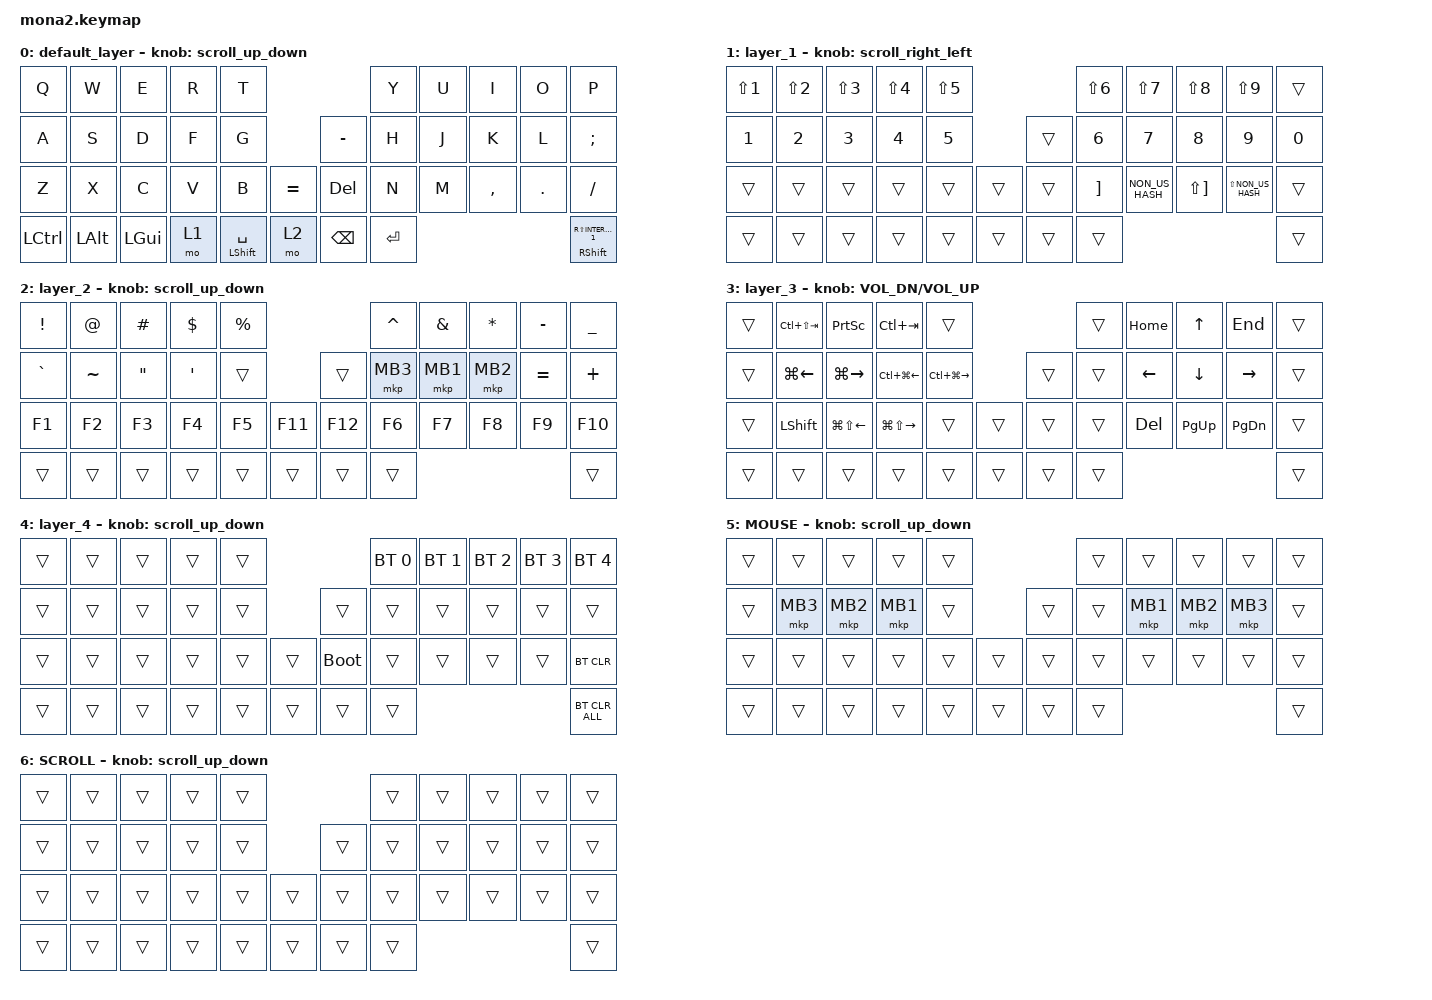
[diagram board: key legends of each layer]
#include <input/processors.dtsi>
#include <dt-bindings/zmk/input_transform.h>
#include <zephyr/dt-bindings/input/input-event-codes.h>
#include <behaviors.dtsi>
#include <dt-bindings/zmk/bt.h>
#include <dt-bindings/zmk/keys.h>
#include <dt-bindings/zmk/pointing.h>

#define ZMK_POINTING_DEFAULT_SCRL_VAL 100
#define MOUSE 5
#define SCROLL 6

&mt {
    flavor = "balanced";
    quick-tap-ms = <0>;
};

&lt {
    quick-tap-ms = <300>;
    flavor = "balanced";
};

/ {
    combos {
        compatible = "zmk,combos";

        layer4_ESC {
            bindings = <&lt 4 ESC>;
            key-positions = <0 1>;
        };

        tab {
            bindings = <&kp TAB>;
            key-positions = <11 10>;
        };

        combo_eisu {
            bindings = <&kp LANGUAGE_2>;
            key-positions = <12 13>;
        };

        combo_kana {
            bindings = <&kp LANGUAGE_1>;
            key-positions = <17 18>;
        };

        combo_1 {
            bindings = <&kp NUMBER_1>;
            key-positions = <0 10>;
        };

        combo_2 {
            bindings = <&kp NUMBER_2>;
            key-positions = <1 11>;
        };

        combo_3 {
            bindings = <&kp NUMBER_3>;
            key-positions = <2 12>;
        };

        combo_4 {
            bindings = <&kp NUMBER_4>;
            key-positions = <3 13>;
        };

        combo_5 {
            bindings = <&kp NUMBER_5>;
            key-positions = <4 14>;
        };

        combo_6 {
            bindings = <&kp NUMBER_6>;
            key-positions = <5 16>;
        };

        combo_7 {
            bindings = <&kp NUMBER_7>;
            key-positions = <6 17>;
        };

        combo_8 {
            bindings = <&kp NUMBER_8>;
            key-positions = <7 18>;
        };

        combo_9 {
            bindings = <&kp NUMBER_9>;
            key-positions = <8 19>;
        };

        combo_0 {
            bindings = <&kp NUMBER_0>;
            key-positions = <9 20>;
        };

        combo_toggleToLayer5 {
            bindings = <&tog 5>;
            key-positions = <18 19>;
        };

        combo_F1 {
            bindings = <&kp F1>;
            key-positions = <10 21>;
        };

        combo_F2 {
            bindings = <&kp F2>;
            key-positions = <11 22>;
        };

        combo_F3 {
            bindings = <&kp F3>;
            key-positions = <12 23>;
        };

        combo_F4 {
            bindings = <&kp F4>;
            key-positions = <13 24>;
        };

        combo_F5 {
            bindings = <&kp F5>;
            key-positions = <14 25>;
        };

        combo_F6 {
            bindings = <&kp F6>;
            key-positions = <16 28>;
        };

        combo_F7 {
            bindings = <&kp F7>;
            key-positions = <17 29>;
        };

        combo_F8 {
            bindings = <&kp F8>;
            key-positions = <18 30>;
        };

        combo_F9 {
            bindings = <&kp F9>;
            key-positions = <19 31>;
        };

        combo_F10 {
            bindings = <&kp F10>;
            key-positions = <20 32>;
        };

        combo_F11 {
            bindings = <&kp F11>;
            key-positions = <26 25>;
        };

        combo_F12 {
            bindings = <&kp F12>;
            key-positions = <15 27>;
        };
    };

    macros {
        to_layer_0: to_layer_0 {
            compatible = "zmk,behavior-macro-one-param";
            #binding-cells = <1>;
            bindings = <&to 0 &macro_param_1to1 &kp MACRO_PLACEHOLDER>;
            label = "TO_LAYER_0";
        };
    };

    behaviors {
        lt_to_layer_0: lt_to_layer_0 {
            compatible = "zmk,behavior-hold-tap";
            label = "LAYER_TAP_TO_0";
            bindings = <&mo>, <&to_layer_0>;

            #binding-cells = <2>;
            tapping-term-ms = <200>;
        };

        scroll_up_down: mouse_wheel_up_down {
            compatible = "zmk,behavior-sensor-rotate";
            #sensor-binding-cells = <0>;
            bindings = <&msc SCRL_DOWN>, <&msc SCRL_UP>;

            tap-ms = <20>;
        };

        scroll_right_left: mouse_wheel_right_left {
            compatible = "zmk,behavior-sensor-rotate";
            #sensor-binding-cells = <0>;
            bindings = <&msc SCRL_LEFT>, <&msc SCRL_RIGHT>;

            tap-ms = <20>;
        };
    };

    keymap {
        compatible = "zmk,keymap";

        default_layer {
            bindings = <
&kp Q      &kp W         &kp E         &kp R  &kp T                                             &kp Y      &kp U  &kp I      &kp O    &kp P
&kp A      &kp S         &kp D         &kp F  &kp G                              &kp MINUS      &kp H      &kp J  &kp K      &kp L    &kp SEMICOLON
&kp Z      &kp X         &kp C         &kp V  &kp B                 &kp EQUAL    &kp DELETE     &kp N      &kp M  &kp COMMA  &kp DOT  &kp SLASH
&kp LCTRL  &kp LEFT_ALT  &kp LEFT_GUI  &mo 1  &mt LEFT_SHIFT SPACE  &mo 2        &kp BACKSPACE  &kp ENTER                             &mt RIGHT_SHIFT RS(INTERNATIONAL_1)
            >;

            sensor-bindings = <&scroll_up_down>;
        };

        layer_1 {
            bindings = <
&kp LS(NUMBER_1)  &kp LS(NUMBER_2)  &kp LS(NUMBER_3)  &kp LS(NUMBER_4)  &kp LS(NUMBER_5)                    &kp LS(NUMBER_6)   &kp LS(NUMBER_7)  &kp LS(NUMBER_8)       &kp LS(NUMBER_9)     &trans
&kp NUMBER_1      &kp NUMBER_2      &kp NUMBER_3      &kp NUMBER_4      &kp NUMBER_5                &trans  &kp NUMBER_6       &kp NUMBER_7      &kp NUMBER_8           &kp NUMBER_9         &kp NUMBER_0
&trans            &trans            &trans            &trans            &trans            &trans    &trans  &kp RIGHT_BRACKET  &kp NON_US_HASH   &kp LS(RIGHT_BRACKET)  &kp LS(NON_US_HASH)  &trans
&trans            &trans            &trans            &trans            &trans            &trans    &trans  &trans                                                                           &trans
            >;

            sensor-bindings = <&scroll_right_left>;
        };

        layer_2 {
            bindings = <
&kp EXCLAMATION  &kp AT_SIGN  &kp POUND          &kp DOLLAR  &kp PERCENT                      &kp CARET  &kp AMPERSAND  &kp ASTERISK  &kp MINUS  &kp UNDERSCORE
&kp GRAVE        &kp TILDE    &kp DOUBLE_QUOTES  &kp SQT     &trans                  &trans   &mkp MB3   &mkp MB1       &mkp MB2      &kp EQUAL  &kp PLUS
&kp F1           &kp F2       &kp F3             &kp F4      &kp F5       &kp F11    &kp F12  &kp F6     &kp F7         &kp F8        &kp F9     &kp F10
&trans           &trans       &trans             &trans      &trans       &trans     &trans   &trans                                             &trans
            >;

            sensor-bindings = <&scroll_up_down>;
        };

        layer_3 {
            bindings = <
&trans  &kp LC(LS(TAB))     &kp PRINTSCREEN         &kp LC(TAB)              &trans                                     &trans  &kp HOME        &kp UP_ARROW    &kp END          &trans
&trans  &kp LG(LEFT_ARROW)  &kp LG(RIGHT_ARROW)     &kp LC(LG(LEFT_ARROW))   &kp LC(LG(RIGHT_ARROW))            &trans  &trans  &kp LEFT_ARROW  &kp DOWN_ARROW  &kp RIGHT_ARROW  &trans
&trans  &kp LEFT_SHIFT      &kp LG(LS(LEFT_ARROW))  &kp LG(LS(RIGHT_ARROW))  &trans                   &trans    &trans  &trans  &kp DELETE      &kp PAGE_UP     &kp PAGE_DOWN    &trans
&trans  &trans              &trans                  &trans                   &trans                   &trans    &trans  &trans                                                   &trans
            >;

            sensor-bindings = <&inc_dec_kp C_VOL_DN C_VOL_UP>;
        };

        layer_4 {
            bindings = <
&trans  &trans  &trans  &trans  &trans                         &bt BT_SEL 0  &bt BT_SEL 1  &bt BT_SEL 2  &bt BT_SEL 3  &bt BT_SEL 4
&trans  &trans  &trans  &trans  &trans            &trans       &trans        &trans        &trans        &trans        &trans
&trans  &trans  &trans  &trans  &trans  &trans    &bootloader  &trans        &trans        &trans        &trans        &bt BT_CLR
&trans  &trans  &trans  &trans  &trans  &trans    &trans       &trans                                                  &bt BT_CLR_ALL
            >;

            sensor-bindings = <&scroll_up_down>;
        };

        MOUSE {
            bindings = <
&trans  &trans    &trans    &trans    &trans                    &trans  &trans    &trans    &trans    &trans
&trans  &mkp MB3  &mkp MB2  &mkp MB1  &trans            &trans  &trans  &mkp MB1  &mkp MB2  &mkp MB3  &trans
&trans  &trans    &trans    &trans    &trans  &trans    &trans  &trans  &trans    &trans    &trans    &trans
&trans  &trans    &trans    &trans    &trans  &trans    &trans  &trans                                &trans
            >;

            sensor-bindings = <&scroll_up_down>;
        };

        SCROLL {
            bindings = <
&trans  &trans  &trans  &trans  &trans                    &trans  &trans  &trans  &trans  &trans
&trans  &trans  &trans  &trans  &trans            &trans  &trans  &trans  &trans  &trans  &trans
&trans  &trans  &trans  &trans  &trans  &trans    &trans  &trans  &trans  &trans  &trans  &trans
&trans  &trans  &trans  &trans  &trans  &trans    &trans  &trans                          &trans
            >;

            sensor-bindings = <&scroll_up_down>;
        };
    };
};
